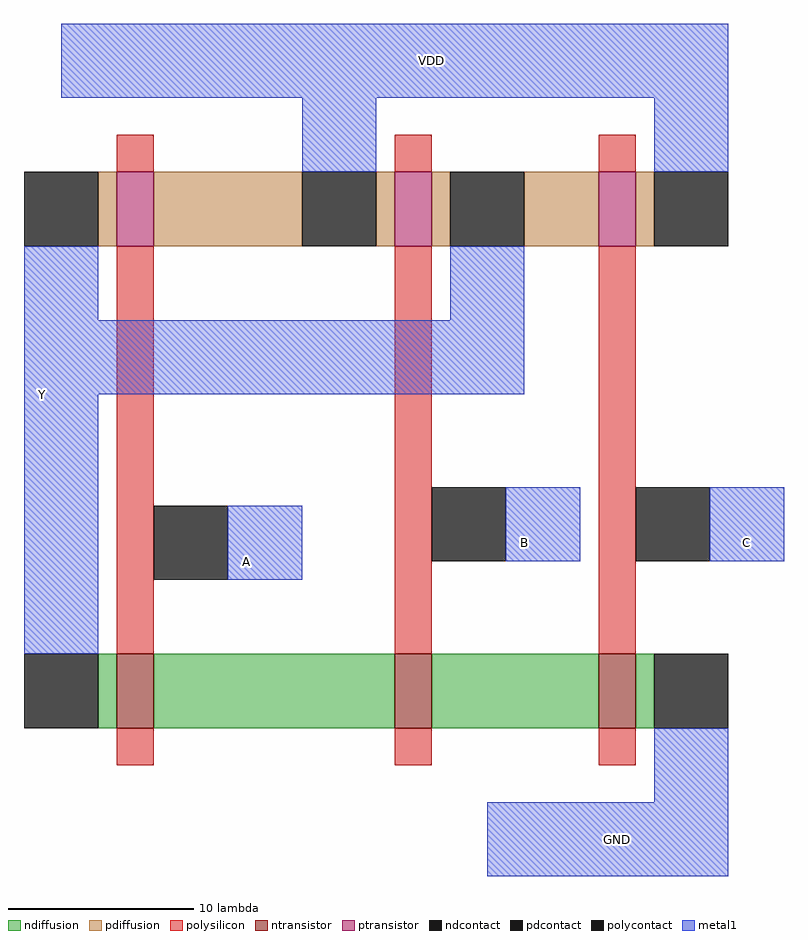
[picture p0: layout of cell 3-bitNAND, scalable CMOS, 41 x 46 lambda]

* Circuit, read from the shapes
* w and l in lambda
.subckt 3-bitNAND A B C GND VDD Y
M1 n1 A Y VSUBS nfet w=4 l=2
M2 n2 B n1 VSUBS nfet w=4 l=2
M3 GND C n2 VSUBS nfet w=4 l=2
M4 VDD A Y NWELL pfet w=4 l=2
M5 Y B VDD NWELL pfet w=4 l=2
M6 VDD C Y NWELL pfet w=4 l=2
.ends

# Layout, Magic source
magic
tech scmos
<< polysilicon >>
rect 5 4 7 6
rect 20 4 22 6
rect 31 4 33 6
rect 5 -22 7 0
rect 20 -22 22 0
rect 31 -22 33 0
rect 5 -28 7 -26
rect 20 -28 22 -26
rect 31 -28 33 -26
<< ndiffusion >>
rect 4 -26 5 -22
rect 7 -26 20 -22
rect 22 -26 31 -22
rect 33 -26 34 -22
<< pdiffusion >>
rect 4 0 5 4
rect 7 0 15 4
rect 19 0 20 4
rect 22 0 23 4
rect 27 0 31 4
rect 33 0 34 4
<< metal1 >>
rect 2 8 38 12
rect 15 4 19 8
rect 34 4 38 8
rect 0 -4 4 0
rect 23 -4 27 0
rect 0 -8 27 -4
rect 0 -22 4 -8
rect 11 -18 15 -14
rect 26 -17 30 -13
rect 37 -17 41 -13
rect 34 -30 38 -26
rect 25 -34 38 -30
<< ntransistor >>
rect 5 -26 7 -22
rect 20 -26 22 -22
rect 31 -26 33 -22
<< ptransistor >>
rect 5 0 7 4
rect 20 0 22 4
rect 31 0 33 4
<< polycontact >>
rect 7 -18 11 -14
rect 22 -17 26 -13
rect 33 -17 37 -13
<< ndcontact >>
rect 0 -26 4 -22
rect 34 -26 38 -22
<< pdcontact >>
rect 0 0 4 4
rect 15 0 19 4
rect 23 0 27 4
rect 34 0 38 4
<< labels >>
rlabel metal1 12 -17 12 -17 1 A
rlabel metal1 27 -16 27 -16 1 B
rlabel metal1 39 -16 39 -16 7 C
rlabel metal1 1 -8 1 -8 3 Y
rlabel metal1 32 -32 32 -32 1 GND
rlabel metal1 22 10 22 10 5 VDD
<< end >>
